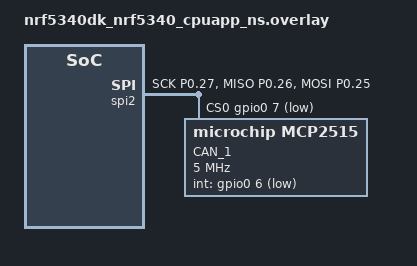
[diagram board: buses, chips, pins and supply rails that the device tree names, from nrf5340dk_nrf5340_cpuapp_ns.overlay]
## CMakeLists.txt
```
cmake_minimum_required(VERSION 3.20.0)
find_package(Zephyr REQUIRED HINTS $ENV{ZEPHYR_BASE})

project(test-app-2)

target_sources(app PRIVATE src/main.c src/can.c src/talon_fx.c src/talon_srx.c src/control.c src/util.c src/serial.c src/pdp.c)
target_include_directories(app PRIVATE ${CMAKE_CURRENT_SOURCE_DIR}/include)
```

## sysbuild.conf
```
SB_CONFIG_WIFI_NRF70=y
```

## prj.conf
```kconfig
CONFIG_LOG=y
CONFIG_USE_SEGGER_RTT=y
CONFIG_LOG_BACKEND_UART=n
CONFIG_LOG_BACKEND_RTT=y
CONFIG_LOG_DEFAULT_LEVEL=3

CONFIG_I2C=y

CONFIG_TFM_SECURE_UART=n
CONFIG_TFM_LOG_LEVEL_SILENCE=y

CONFIG_SPI=y
CONFIG_SPI_NRFX=y
CONFIG_CAN=y
CONFIG_CAN_MCP2515=y
CONFIG_SPI_INIT_PRIORITY=20

CONFIG_MULTITHREADING=y

CONFIG_SERIAL=y
CONFIG_UART_ASYNC_API=y

CONFIG_CBPRINTF_FP_SUPPORT=y
```

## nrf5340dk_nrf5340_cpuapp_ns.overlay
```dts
// To get started, press Ctrl+Space to bring up the completion menu and view the available nodes.

// You can also use the buttons in the sidebar to perform actions on nodes.
// Actions currently available include:

// * Enabling / disabling the node
// * Adding the bus to a bus
// * Removing the node
// * Connecting ADC channels

// For more help, browse the DeviceTree documentation at https: //docs.zephyrproject.org/latest/guides/dts/index.html
// You can also visit the nRF DeviceTree extension documentation at https: //docs.nordicsemi.com/bundle/nrf-connect-vscode/page/guides/ncs_configure_app.html#devicetree-support-in-the-extension
// &i2c1 {
    //     status = "okay";
    //     clock-frequency = <I2C_BITRATE_STANDARD>;
    //     pinctrl-0 = <&i2c1_default>;
    //     pinctrl-1 = <&i2c1_sleep>;
    //     pinctrl-names = "default", "sleep";
    //     imu: imu@28 {
        //         compatible = "i2c-device";
        //         reg = <0x28>;
        //         label = "IMU";
    //     };

// };

&spi2 {
    status = "okay";
    cs-gpios = <&gpio0 7 GPIO_ACTIVE_LOW>;
    pinctrl-0 = <&spi1_default>;
    pinctrl-1 = <&spi1_sleep>;
    pinctrl-names = "default", "sleep";
    can: mcp2515@0 {
        compatible = "microchip,mcp2515";
        osc-freq = <10000000>;
        reg = <0>;
        spi-max-frequency = <5000000>;
        int-gpios = <&gpio0 6 (GPIO_ACTIVE_LOW)>;
        status = "okay";
        label = "CAN_1";
        bitrate = <1000000>;
        #address-cells = <1>;
    };
};


&pinctrl {
    spi1_default: spi1_default {
        group1 {
            psels = <NRF_PSEL(SPIM_SCK, 0, 27)>,
                    <NRF_PSEL(SPIM_MISO, 0, 26)>,
                    <NRF_PSEL(SPIM_MOSI, 0, 25)>;
        };
    };

    spi1_sleep: spi1_sleep {
        group1 {
            psels = <NRF_PSEL(SPIM_SCK, 0, 27)>,
                    <NRF_PSEL(SPIM_MISO, 0, 26)>,
                    <NRF_PSEL(SPIM_MOSI, 0, 25)>;
            low-power-enable;
        };
    };
};


// &pinctrl {
    //     spi4_default: spi4_default {
        //         group1 {
            //             psels = <NRF_PSEL(SPIM_SCK, 0, 8)>,
                                   //                     <NRF_PSEL(SPIM_MISO, 0, 10)>,
                                   //                     <NRF_PSEL(SPIM_MOSI, 0, 9)>;
        //         };
    //     };

    //     spi4_sleep: spi4_sleep {
        //         group1 {
            //             psels = <NRF_PSEL(SPIM_SCK, 0, 8)>,
                                   //                     <NRF_PSEL(SPIM_MISO, 0, 10)>,
                                   //                     <NRF_PSEL(SPIM_MOSI, 0, 9)>;
            //             low-power-enable;
        //         };
    //     };
// };
// &qspi {
    //     status = "okay";
    //     pinctrl-0 = <&qspi_default>;
    //     pinctrl-1 = <&qspi_sleep>;
    //     pinctrl-names = "default", "sleep";
    //     /delete-node/ mx25r6435f@0;
    //     can: can@0 {
        //         compatible = "nordic,qspi-nor";
        //         reg = <0>;
        //         label = "CAN";
        //         jedec-id = <0xe3 0x00>;
        //         sck-frequency = <8000000>;
    //     };
// };
// &spi4 {
    //     status = "okay";
    //     compatible = "nordic,nrf-spim";
    //     pinctrl-0 = <&spi4_default>;
    //     pinctrl-1 = <&spi4_sleep>;
    //     pinctrl-names = "default", "sleep";
    //     cs-gpios = <&gpio0 14 GPIO_ACTIVE_LOW>; /* D10 */
    //     can: mcp2515@0 {
        //         status = "okay";
        //         compatible = "micro";
        //         reg = <0>;
        //         spi-max-frequency = <24000000>;
        //         /* Wi-Fi Pins used */
        //         iovdd-ctrl-gpios = <&gpio0 18 GPIO_ACTIVE_HIGH>;
        //         bucken-gpios = <&gpio0 5 GPIO_ACTIVE_HIGH>;
        //         host-irq-gpios = <&gpio0 19 GPIO_ACTIVE_HIGH>;
    //     };
// };


// &spi1 {
    //         compatible = "nordic,nrf-spi";
    //         status = "okay";
    //         cs-gpios = <&gpio0 18 GPIO_ACTIVE_LOW>;
    //         pinctrl-0 = <&spi1_default>;
    //         pinctrl-1 = <&spi1_sleep>;
    //         pinctrl-names = "default", "sleep";
    //         gendev: gendev@0 {
        //                 compatible = "vnd,spi-device";
        //                 reg = <0>;
        //                 spi-max-frequency = <1600000>;
        //                 label = "GenDev";
    //         };
// };

// &spi4 {
    //     status = "okay";
    //     cs-gpios = <&gpio1 9 GPIO_ACTIVE_LOW>;
    //     pinctrl-0 = <&spi4_default>;
    //     //pinctrl-names = "default";

    //     canbus: mcp2515@0 {
        //         compatible = "microchip,mcp2515";
        //         spi-max-frequency = <1000000>;
        //         int-gpios = <&gpio1 10 (GPIO_ACTIVE_LOW)>;
        //         status = "okay";
        //         label = "CAN_1";
        //         reg = <0x0>;
        //         osc-freq = <16000000>;
        //         bus-speed = <500000>;
        //         sjw = <1>;
        //         prop-seg = <2>;
        //         phase-seg1 = <7>;
        //         phase-seg2 = <6>;
        //         #address-cells = <1>;
        //         #size-cells = <0>;
    //     };
// };

// / {
    //     chosen {
        //         zephyr,canbus = &canbus;
    //     };
// };
```

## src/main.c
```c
#include <zephyr/kernel.h>
#include <zephyr/logging/log.h>
#include "can.h"
#include "pdp.h"
#include "talon_fx.h"
#include "talon_srx.h"
#include "control.h"
#include "serial.h"

LOG_MODULE_REGISTER(main);

#define I2C1_NODE DT_NODELABEL(imu)
#define CAN1_NODE DT_NODELABEL(can)

const struct device *dev_can = DEVICE_DT_GET(CAN1_NODE);
const struct device *dev_uart = DEVICE_DT_GET(DT_NODELABEL(uart0));

#define STACK_SIZE 1024

K_MSGQ_DEFINE(serial_msgq, sizeof(serial_packet_t), 4, 4);

talon_fx_t motor;
talon_srx_t actuator;

K_SEM_DEFINE(can_init_sem, 0, 1);

void can_thread(void)
{
        k_sem_take(&can_init_sem, K_FOREVER);

        PDP pdp;
        int pdp_id = 62;
        pdp_init(&pdp, dev_can, pdp_id);

        while (true)
        {
                pdp_update_channel_currents(&pdp);

                k_sem_take(&pdp.callback00.received, K_MSEC(500));
                k_sem_take(&pdp.callback40.received, K_MSEC(50));
                k_sem_take(&pdp.callback80.received, K_MSEC(50));

                float feedback_voltages[] = {
                    pdp_get_channel_current(&pdp, FRONT_LEFT_WHEEL_PDP_ID),
                    pdp_get_channel_current(&pdp, BACK_LEFT_WHEEL_PDP_ID),
                    pdp_get_channel_current(&pdp, FRONT_RIGHT_WHEEL_PDP_ID),
                    pdp_get_channel_current(&pdp, BACK_RIGHT_WHEEL_PDP_ID),
                    pdp_get_channel_current(&pdp, BUCKET_DRUM_LEFT_PDP_ID),
                    pdp_get_channel_current(&pdp, BUCKET_DRUM_PDP_ID),
                    pdp_get_channel_current(&pdp, LEFT_ACTUATOR_PDP_ID),
                    pdp_get_channel_current(&pdp, RIGHT_ACTUATOR_PDP_ID),
                    pdp_get_bus_voltage(&pdp),
                };

                LOG_INF("PDP Voltages - FL: %.2f, BL: %.2f, FR: %.2f, BR: %.2f, DL: %.2f, D: %.2f, LA: %.2f, RA: %.2f, Bus: %.2f",
                        (double)feedback_voltages[0],
                        (double)feedback_voltages[1],
                        (double)feedback_voltages[2],
                        (double)feedback_voltages[3],
                        (double)feedback_voltages[4],
                        (double)feedback_voltages[5],
                        (double)feedback_voltages[6],
                        (double)feedback_voltages[7],
                        (double)feedback_voltages[8]);

                uint8_t packet[sizeof(feedback_voltages) + 4] = {0};
                packet[0] = 0x01;
                memcpy(&packet[4], feedback_voltages, sizeof(feedback_voltages));
                uart_tx(dev_uart, packet, sizeof(packet), SYS_FOREVER_MS);
        }
}

K_THREAD_DEFINE(can_thread_id, 4096, can_thread, NULL, NULL, NULL, CAN_THREAD_PRIORITY, 0, 0);

int control_thread(void)
{
        while (!talons_initialized())
        {
                LOG_INF("Waiting for talons to initialize...");
                k_msleep(100);
        }

        while (1)
        {
                serial_packet_t pkt;
                int err = k_msgq_get(&serial_msgq, &pkt, K_MSEC(CONTROL_TIMEOUT_MS));
                if (err != 0)
                {
                        pkt = (serial_packet_t){
                            .front_left_wheel = 0x7f,
                            .back_left_wheel = 0x7f,
                            .front_right_wheel = 0x7f,
                            .back_right_wheel = 0x7f,
                            .drum = 0x7f,
                            .actuator = 0x7f,
                        };
                }

                LOG_INF("Packet - FL: %d, BL: %d, FR: %d, BR: %d, Drum: %d, Actuator: %d",
                        pkt.front_left_wheel,
                        pkt.back_left_wheel,
                        pkt.front_right_wheel,
                        pkt.back_right_wheel,
                        pkt.drum,
                        pkt.actuator);

                direct_control(&pkt);
                k_msleep(10);
        }
        return 0;
}

K_THREAD_DEFINE(control_thread_id, STACK_SIZE, control_thread, NULL, NULL, NULL, CONTROL_THREAD_PRIORITY, 0, 0);

int main(void)
{
        k_msleep(10);

        configure_can_device(dev_can);
        configure_uart_device(dev_uart, &serial_msgq);
        initialize_talons(dev_can);

        k_sem_give(&can_init_sem);

        LOG_INF("Devices initialized. Entering main loop.");

        while (1)
        {
                LOG_INF("Heartbeat");
                k_msleep(1000);
        }

        return 0;
}
```

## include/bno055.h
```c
#define BNO055_CHIP_ID_ADDR 0x00
#define BNO055_ACCEL_REV_ID_ADDR 0x01
#define BNO055_MAG_REV_ID_ADDR 0x02
#define BNO055_GYRO_REV_ID_ADDR 0x03
#define BNO055_SW_REV_ID_LSB_ADDR 0x04
#define BNO055_SW_REV_ID_MSB_ADDR 0x05
#define BNO055_BL_REV_ID_ADDR 0X06
#define BNO055_PAGE_ID_ADDR 0X07

#define BNO055_ACCEL_DATA_X_LSB_ADDR 0X08
#define BNO055_ACCEL_DATA_X_MSB_ADDR 0X09
#define BNO055_ACCEL_DATA_Y_LSB_ADDR 0X0A
#define BNO055_ACCEL_DATA_Y_MSB_ADDR 0X0B
#define BNO055_ACCEL_DATA_Z_LSB_ADDR 0X0C
#define BNO055_ACCEL_DATA_Z_MSB_ADDR 0X0D

#define BNO055_MAG_DATA_X_LSB_ADDR 0X0E
#define BNO055_MAG_DATA_X_MSB_ADDR 0X0F
#define BNO055_MAG_DATA_Y_LSB_ADDR 0X10
#define BNO055_MAG_DATA_Y_MSB_ADDR 0X11
#define BNO055_MAG_DATA_Z_LSB_ADDR 0X12
#define BNO055_MAG_DATA_Z_MSB_ADDR 0X13

#define BNO055_GYRO_DATA_X_LSB_ADDR 0X14
#define BNO055_GYRO_DATA_X_MSB_ADDR 0X15
#define BNO055_GYRO_DATA_Y_LSB_ADDR 0X16
#define BNO055_GYRO_DATA_Y_MSB_ADDR 0X17
#define BNO055_GYRO_DATA_Z_LSB_ADDR 0X18
#define BNO055_GYRO_DATA_Z_MSB_ADDR 0X19

#define BNO055_EULER_H_LSB_ADDR 0X1A
#define BNO055_EULER_H_MSB_ADDR 0X1B
#define BNO055_EULER_R_LSB_ADDR 0X1C
#define BNO055_EULER_R_MSB_ADDR 0X1D
#define BNO055_EULER_P_LSB_ADDR 0X1E
#define BNO055_EULER_P_MSB_ADDR 0X1F

#define BNO055_QUATERNION_DATA_W_LSB_ADDR 0X20
#define BNO055_QUATERNION_DATA_W_MSB_ADDR 0X21
#define BNO055_QUATERNION_DATA_X_LSB_ADDR 0X22
#define BNO055_QUATERNION_DATA_X_MSB_ADDR 0X23
#define BNO055_QUATERNION_DATA_Y_LSB_ADDR 0X24
#define BNO055_QUATERNION_DATA_Y_MSB_ADDR 0X25
#define BNO055_QUATERNION_DATA_Z_LSB_ADDR 0X26
#define BNO055_QUATERNION_DATA_Z_MSB_ADDR 0X27

#define BNO055_LINEAR_ACCEL_DATA_X_LSB_ADDR 0X28
#define BNO055_LINEAR_ACCEL_DATA_X_MSB_ADDR 0X29
#define BNO055_LINEAR_ACCEL_DATA_Y_LSB_ADDR 0X2A
#define BNO055_LINEAR_ACCEL_DATA_Y_MSB_ADDR 0X2B
#define BNO055_LINEAR_ACCEL_DATA_Z_LSB_ADDR 0X2C
#define BNO055_LINEAR_ACCEL_DATA_Z_MSB_ADDR 0X2D

#define BNO055_GRAVITY_DATA_X_LSB_ADDR 0X2E
#define BNO055_GRAVITY_DATA_X_MSB_ADDR 0X2F
#define BNO055_GRAVITY_DATA_Y_LSB_ADDR 0X30
#define BNO055_GRAVITY_DATA_Y_MSB_ADDR 0X31
#define BNO055_GRAVITY_DATA_Z_LSB_ADDR 0X32
#define BNO055_GRAVITY_DATA_Z_MSB_ADDR 0X33

#define BNO055_TEMP_ADDR 0X34

#define BNO055_CALIB_STAT_ADDR 0X35
#define BNO055_SELFTEST_RESULT_ADDR 0X36
#define BNO055_INTR_STAT_ADDR 0X37

#define BNO055_SYS_CLK_STAT_ADDR 0X38
#define BNO055_SYS_STAT_ADDR 0X39
#define BNO055_SYS_ERR_ADDR 0X3A

#define BNO055_UNIT_SEL_ADDR 0X3B
#define BNO055_DATA_SELECT_ADDR 0X3C

#define BNO055_OPR_MODE_ADDR 0X3D
#define BNO055_PWR_MODE_ADDR 0X3E

#define BNO055_SYS_TRIGGER_ADDR 0X3F
#define BNO055_TEMP_SOURCE_ADDR 0X40

#define BNO055_AXIS_MAP_CONFIG_ADDR 0X41
#define BNO055_AXIS_MAP_SIGN_ADDR 0X42

#define BNO055_SIC_MATRIX_0_LSB_ADDR 0X43
#define BNO055_SIC_MATRIX_0_MSB_ADDR 0X44
#define BNO055_SIC_MATRIX_1_LSB_ADDR 0X45
#define BNO055_SIC_MATRIX_1_MSB_ADDR 0X46
#define BNO055_SIC_MATRIX_2_LSB_ADDR 0X47
#define BNO055_SIC_MATRIX_2_MSB_ADDR 0X48
#define BNO055_SIC_MATRIX_3_LSB_ADDR 0X49
#define BNO055_SIC_MATRIX_3_MSB_ADDR 0X4A
#define BNO055_SIC_MATRIX_4_LSB_ADDR 0X4B
#define BNO055_SIC_MATRIX_4_MSB_ADDR 0X4C
#define BNO055_SIC_MATRIX_5_LSB_ADDR 0X4D
#define BNO055_SIC_MATRIX_5_MSB_ADDR 0X4E
#define BNO055_SIC_MATRIX_6_LSB_ADDR 0X4F
#define BNO055_SIC_MATRIX_6_MSB_ADDR 0X50
#define BNO055_SIC_MATRIX_7_LSB_ADDR 0X51
#define BNO055_SIC_MATRIX_7_MSB_ADDR 0X52
#define BNO055_SIC_MATRIX_8_LSB_ADDR 0X53
#define BNO055_SIC_MATRIX_8_MSB_ADDR 0X54

#define BNO055_ACCEL_OFFSET_X_LSB_ADDR 0X55
#define BNO055_ACCEL_OFFSET_X_MSB_ADDR 0X56
#define BNO055_ACCEL_OFFSET_Y_LSB_ADDR 0X57
#define BNO055_ACCEL_OFFSET_Y_MSB_ADDR 0X58
#define BNO055_ACCEL_OFFSET_Z_LSB_ADDR 0X59
#define BNO055_ACCEL_OFFSET_Z_MSB_ADDR 0X5A

#define BNO055_MAG_OFFSET_X_LSB_ADDR 0X5B
#define BNO055_MAG_OFFSET_X_MSB_ADDR 0X5C
#define BNO055_MAG_OFFSET_Y_LSB_ADDR 0X5D
#define BNO055_MAG_OFFSET_Y_MSB_ADDR 0X5E
#define BNO055_MAG_OFFSET_Z_LSB_ADDR 0X5F
#define BNO055_MAG_OFFSET_Z_MSB_ADDR 0X60

#define BNO055_GYRO_OFFSET_X_LSB_ADDR 0X61
#define BNO055_GYRO_OFFSET_X_MSB_ADDR 0X62
#define BNO055_GYRO_OFFSET_Y_LSB_ADDR 0X63
#define BNO055_GYRO_OFFSET_Y_MSB_ADDR 0X64
#define BNO055_GYRO_OFFSET_Z_LSB_ADDR 0X65
#define BNO055_GYRO_OFFSET_Z_MSB_ADDR 0X66

#define BNO055_ACCEL_RADIUS_LSB_ADDR 0X67
#define BNO055_ACCEL_RADIUS_MSB_ADDR 0X68
#define BNO055_MAG_RADIUS_LSB_ADDR 0X69
#define BNO055_MAG_RADIUS_MSB_ADDR 0X6A

#define BNO055_POWER_MODE_NORMAL 0X00
#define BNO055_POWER_MODE_LOWPOWER 0X01
#define BNO055_POWER_MODE_SUSPEND 0X02

#define BNO055_OPERATION_MODE_CONFIG 0X00
#define BNO055_OPERATION_MODE_ACCONLY 0X01
#define BNO055_OPERATION_MODE_MAGONLY 0X02
#define BNO055_OPERATION_MODE_GYRONLY 0X03
#define BNO055_OPERATION_MODE_ACCMAG 0X04
#define BNO055_OPERATION_MODE_ACCGYRO 0X05
#define BNO055_OPERATION_MODE_MAGGYRO 0X06
#define BNO055_OPERATION_MODE_AMG 0X07
#define BNO055_OPERATION_MODE_IMUPLUS 0X08
#define BNO055_OPERATION_MODE_COMPASS 0X09
#define BNO055_OPERATION_MODE_M4G 0X0A
#define BNO055_OPERATION_MODE_NDOF_FMC_OFF 0X0B
#define BNO055_OPERATION_MODE_NDOF 0X0C
```

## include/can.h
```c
#ifndef INC_CAN_H_
#define INC_CAN_H_

#include <zephyr/drivers/can.h>
#include <zephyr/kernel.h>

#define CONFIG_CAN_LOOPBACK_MODE (0)

#define CAN_THREAD_PRIORITY 6

void configure_can_device(const struct device *dev);
void send_can_message(const struct device *dev, uint32_t identifier, char *message, uint8_t length);
void send_global_enable_frame(const struct device *dev);
int can_start_receiving_msgq(const struct device *dev, struct k_msgq *message_queue, uint32_t identifier);
int can_start_receiving_callback(const struct device *dev, can_rx_callback_t callback_fn, void *callback_args, uint32_t identifier);
void can_stop_receiving(const struct device *dev, int filter_id);

#endif /* INC_CAN_H_ */
```

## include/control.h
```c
#include "serial.h"

#ifndef CONTROL_H_
#define CONTROL_H_

#define CONTROL_TIMEOUT_MS 50

// Define CAN IDs of each motor/actuator
#define FRONT_LEFT_WHEEL_ID 36
#define BACK_LEFT_WHEEL_ID 37
#define FRONT_RIGHT_WHEEL_ID 38
#define BACK_RIGHT_WHEEL_ID 13
#define BUCKET_DRUM_ID 25
#define BUCKET_DRUM_LEFT_ID 60
#define LEFT_ACTUATOR_ID 0
#define RIGHT_ACTUATOR_ID 1

// Define PDP IDs of each motor
#define FRONT_LEFT_WHEEL_PDP_ID 12
#define BACK_LEFT_WHEEL_PDP_ID 13
#define FRONT_RIGHT_WHEEL_PDP_ID 3
#define BACK_RIGHT_WHEEL_PDP_ID 1
#define BUCKET_DRUM_PDP_ID 0
#define BUCKET_DRUM_LEFT_PDP_ID 2
#define LEFT_ACTUATOR_PDP_ID 15
#define RIGHT_ACTUATOR_PDP_ID 14

#define CONTROL_THREAD_PRIORITY 5
#define DIRECT_ACTUATOR_CONTROL 1

void direct_control(serial_packet_t *pkt);
void initialize_talons(const struct device *can_dev);
bool talons_initialized(void);

#endif /* CONTROL_H_ */
```

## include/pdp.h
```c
#ifndef INC_PDP_H_
#define INC_PDP_H_

#include <stdint.h>
#include <zephyr/kernel.h>
#include "can.h"

typedef struct
{
    uint8_t* current_arr;  // pointer into PDP.channel_currents
    float* voltage_ptr;
    struct k_sem received;
} pdp_callback_data;

typedef struct
{
    struct device *can_device;
    uint32_t identifier;
    pdp_callback_data callback00;
    pdp_callback_data callback40;
    pdp_callback_data callback80;
    uint8_t channel_currents[18];
    float bus_voltage;
} PDP;

void pdp_update_channel_currents(PDP *pdp);
float pdp_get_channel_current(PDP *pdp, int channel_id);
float pdp_get_bus_voltage(PDP *pdp);
void pdp_init(PDP *pdp, const struct device *can_device, uint32_t identifier);

#endif
```

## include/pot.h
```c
// TODO: uhh all of it

#ifndef __POT_H_
#define __POT_H_

int demo();

#endif
```

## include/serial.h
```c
#include <stdint.h>
#include <zephyr/drivers/uart.h>

#ifndef SERIAL_H_
#define SERIAL_H_

#define SIZEOF_UART_RX_BUFFER MAX(SIZEOF_SERIAL_PACKET * 2, 32)
#define TIMEOUT_UART_RX_MS 10

// Size of serial packet excluding the invalid byte
#define SIZEOF_SERIAL_PACKET sizeof(serial_packet_t) - sizeof(uint8_t)
#define SERIAL_START_BYTE 0xFF

typedef struct __attribute__((packed))
{
    int8_t invalid;
    uint8_t start_byte;
    uint8_t header_byte;
    uint8_t front_left_wheel;
    uint8_t back_left_wheel;
    uint8_t front_right_wheel;
    uint8_t back_right_wheel;
    uint8_t drum;
    uint8_t actuator;
} serial_packet_t;

void configure_uart_device(const struct device *uart, struct k_msgq *serial_msgq);

#endif /* SERIAL_H_ */
```

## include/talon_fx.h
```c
#ifndef INC_TALONFX_H_
#define INC_TALONFX_H_

#include "can.h"

typedef enum
{
    TALON_FX_NEUTRAL_COAST = 0,
    TALON_FX_NEUTRAL_BRAKE = 1,
} talon_fx_neutral_mode_t;

typedef struct
{
    double kP;
    double kI;
    double kD;
    double kS;
    double kV;
    double kA;
    double kG;
} talon_fx_slot0_config_t;

typedef struct talon_fx
{
    bool initialized;
    struct device *can_dev;
    int identifier;

    // Function pointers for control actions
    void (*set)(struct talon_fx *self, double value);
    void (*set_neutral_mode)(struct talon_fx *self, talon_fx_neutral_mode_t mode);
    void (*apply_supply_current_limit)(struct talon_fx *self, float limit);
    void (*apply_config)(struct talon_fx *self, talon_fx_slot0_config_t *config);
    void (*set_control)(struct talon_fx *self, int control_mode, double value);
    void (*set_closed_loop_ramp_period)(struct talon_fx *self, float period_s);
} talon_fx_t;

/**
 * @brief Initializes a TalonFX structure.
 * @return Initialized TalonFX instance.
 */
bool talon_fx_init(talon_fx_t *instance, const struct device *can_dev, int identifier);

#endif /* INC_TALONFX_H_ */
```

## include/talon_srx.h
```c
#ifndef INC_TALONSRX_H_
#define INC_TALONSRX_H_

#include "can.h"

typedef struct talon_srx
{
    bool initialized;
    struct device *can_dev;
    int identifier;
    bool inverted;

    // Function pointers for control actions
    void (*set)(struct talon_srx *self, double value);
    void (*set_inverted)(struct talon_srx *self, bool invert);
} talon_srx_t;

/**
 * @brief Initializes a TalonSRX structure.
 * @return Initialized TalonSRX instance.
 */
bool talon_srx_init(talon_srx_t *instance, const struct device *can_dev, int identifier, bool inverted);

#endif /* INC_TALONSRX_H_ */
```

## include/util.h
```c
#ifndef INC_UTIL_H_
#define INC_UTIL_H_

void float_to_byte_array(float f, char *arr);
void float_16_to_byte_array(float f, char *arr);
int min(int a, int b);
int max(int a, int b);
float map(int min, int max, int pos);


#endif /* INC_UTIL_H_ */
```

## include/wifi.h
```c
#ifndef WIFI_H_
#define WIFI_H_

#include <stdint.h>

#define WIFI_THREAD_PRIORITY 7

// All WiFi configurations
#define SSID "Team_02"
#define PSK "marsuva!"
#define SERVER_IP "192.168.0.104"
#define SERVER_PORT 8080

int configure_wifi();
int open_udp_socket(const char *server_ip, uint16_t server_port);
int close_udp_socket(int sock);

#endif /* WIFI_H_ */
```

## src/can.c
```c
#include "can.h"
#include <zephyr/logging/log.h>

#define GLOBAL_ENABLE_FRAME "\x01\x00"

LOG_MODULE_REGISTER(can_bus);

void configure_can_device(const struct device *dev)
{
    int ret;

    if (!device_is_ready(dev))
    {
        LOG_ERR("CAN device %s is not ready!", dev->name);
        return;
    }

#if (CONFIG_CAN_LOOPBACK_MODE)
    ret = can_set_mode(dev, CAN_MODE_LOOPBACK);
#else
    ret = can_set_mode(dev, CAN_MODE_NORMAL);
#endif
    if (ret != 0)
    {
        LOG_ERR("Error setting CAN mode [%d]", ret);
        return;
    }

    k_msleep(10);

    ret = can_start(dev);

    if (ret != 0)
    {
        LOG_ERR("Error starting CAN controller [%d]", ret);
        return;
    }

    LOG_INF("CAN device %s configured.", dev->name);
}

void send_can_message(const struct device *dev, uint32_t identifier, char *message, uint8_t length)
{
    struct can_frame frame = {
        .flags = CAN_FRAME_IDE,
        .id = identifier,
        .dlc = length,
    };
    memcpy(frame.data, message, length);

    LOG_DBG("Sending CAN message with ID: 0x%X (%d bytes)", identifier, length);

    int ret = can_send(dev, &frame, K_FOREVER, NULL, NULL);

    if (ret != 0)
    {
        LOG_ERR("Failed to send CAN message: %d", ret);
    }
}

// void _rx_callback(const struct device *dev, struct can_frame *frame, void *user_data)
// {
//     /* !!! n.b. "The callback function is called from an interrupt context,
//      *           which means that the callback function should be as short
//      *           as possible and must not block." !!!
//      */
//     LOG_INF("Recieved CAN message (%d bytes): \"%s\"", frame->dlc, frame->data);
// }

int can_start_receiving_msgq(const struct device *dev, struct k_msgq *message_queue, uint32_t identifier)
{
    LOG_INF("Setting up CAN receive, id %d", identifier);
    const struct can_filter filter = {
        .flags = CAN_FILTER_IDE,
        .id = identifier,
        .mask = CAN_EXT_ID_MASK,
    };

    // NOTE: If the queue is full, recieved frames are silently dropped.
    // If we want different behavior, reimplement with can_add_rx_filter() and k_msgq_put() in the callback
    int filter_id = can_add_rx_filter_msgq(dev, message_queue, &filter);

    if (filter_id < 0)
    {
        LOG_ERR("Unable to add rx filter [%d]", filter_id);
    }
    return filter_id;
}

int can_start_receiving_callback(const struct device *dev, can_rx_callback_t callback_fn, void *callback_args, uint32_t identifier)
{
    LOG_INF("Setting up CAN receive, id %d", identifier);
    const struct can_filter filter = {
        .flags = CAN_FILTER_IDE,
        .id = identifier,
        .mask = CAN_EXT_ID_MASK,
    };

    int filter_id = can_add_rx_filter(dev, callback_fn, callback_args, &filter);

    if (filter_id < 0)
    {
        LOG_ERR("Unable to add rx filter [%d]", filter_id);
    }
    return filter_id;
}

void can_stop_receiving(const struct device *dev, int filter_id)
{
    can_remove_rx_filter(dev, filter_id);
}

void send_global_enable_frame(const struct device *dev)
{
    send_can_message(dev, 0x401bf, GLOBAL_ENABLE_FRAME, 2);
}
```

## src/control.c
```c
#include <zephyr/kernel.h>
#include <zephyr/drivers/i2c.h>
#include <zephyr/drivers/spi.h>
#include <zephyr/drivers/can.h>
#include "can.h"
#include "talon_fx.h"
#include "talon_srx.h"
#include <zephyr/logging/log.h>
#include "control.h"

LOG_MODULE_REGISTER(control);

extern const struct device *dev_can;

talon_fx_t front_left_motor;
talon_fx_t back_left_motor;
talon_fx_t front_right_motor;
talon_fx_t back_right_motor;
talon_fx_t bucket_drum_motor;
talon_fx_t bucket_drum_left_motor;

talon_srx_t left_actuator;
talon_srx_t right_actuator;

void direct_control(serial_packet_t *pkt)
{
    send_global_enable_frame(dev_can);

    uint8_t left_speed = pkt->front_left_wheel;
    uint8_t right_speed = pkt->front_right_wheel;

    front_left_motor.set_control(&front_left_motor, -(left_speed - 127), 0);
    back_left_motor.set_control(&back_left_motor, -(left_speed - 127), 0);

    front_right_motor.set_control(&front_right_motor, (right_speed - 127), 0);
    back_right_motor.set_control(&back_right_motor, (right_speed - 127), 0);

    bucket_drum_motor.set_control(&bucket_drum_motor, (pkt->drum - 127), 0);
    bucket_drum_left_motor.set_control(&bucket_drum_left_motor, -(pkt->drum - 127), 0);

    if (DIRECT_ACTUATOR_CONTROL)
    {
        float actuator_output = -(pkt->actuator - 127) / 127.0;

        left_actuator.set(&left_actuator, actuator_output);
        right_actuator.set(&right_actuator, actuator_output);
    }
    else
    {
        // int8_t actuator_position = pkt->actuator;
        // float percent_extension = actuator_position / 255.0;
        // Position control logic can be implemented here
        LOG_INF("Actuator position control not implemented.");
    }
}

bool talons_initialized(void)
{
    return front_left_motor.initialized &&
           back_left_motor.initialized &&
           front_right_motor.initialized &&
           back_right_motor.initialized &&
           bucket_drum_motor.initialized &&
           bucket_drum_left_motor.initialized &&
           left_actuator.initialized &&
           right_actuator.initialized;
}

void initialize_talons(const struct device *can_dev)
{
    talon_fx_init(&front_left_motor, can_dev, FRONT_LEFT_WHEEL_ID);
    talon_fx_init(&back_left_motor, can_dev, BACK_LEFT_WHEEL_ID);
    talon_fx_init(&front_right_motor, can_dev, FRONT_RIGHT_WHEEL_ID);
    talon_fx_init(&back_right_motor, can_dev, BACK_RIGHT_WHEEL_ID);
    talon_fx_init(&bucket_drum_motor, can_dev, BUCKET_DRUM_ID);
    talon_fx_init(&bucket_drum_left_motor, can_dev, BUCKET_DRUM_LEFT_ID);

    talon_srx_init(&left_actuator, can_dev, LEFT_ACTUATOR_ID, false);
    talon_srx_init(&right_actuator, can_dev, RIGHT_ACTUATOR_ID, false);
}
```
